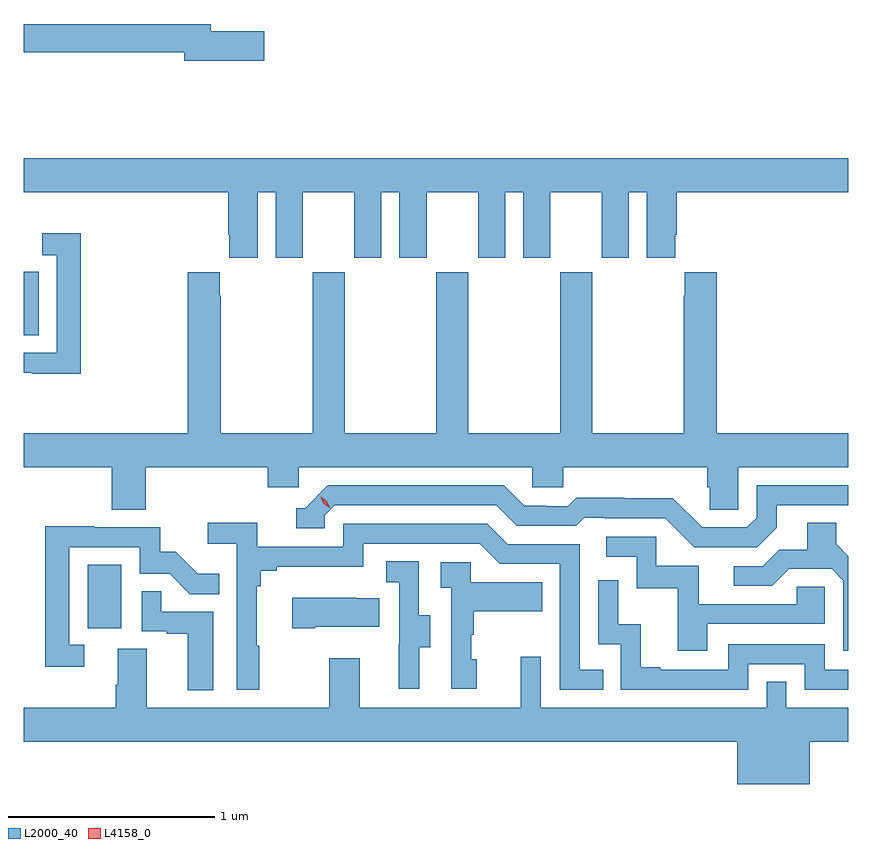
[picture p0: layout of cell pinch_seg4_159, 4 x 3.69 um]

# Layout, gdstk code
import gdstk
lib = gdstk.Library(unit=1e-6, precision=1e-09)
def R(c, l, rs):  # rectangles x0, y0, x1, y1
    for r in rs: c.add(gdstk.rectangle(r[:2], r[2:], *l))
def P(c, l, *ps):  # polygons
    for p in ps: c.add(gdstk.Polygon(p, *l))
L2000_40 = (2000, 40)
L4158_0 = (4158, 0)

pinch_seg4_159 = lib.new_cell('pinch_seg4_159')
R(pinch_seg4_159, L2000_40, [(1114.814,796.038,1114.978,796.345), (1114.503,797.46,1114.576,797.767)])
P(pinch_seg4_159, L2000_40, [(1115.671,798.932),(1115.41,798.932),(1115.41,798.968),(1114.503,798.968),(1114.503,798.832),(1115.282,798.832),(1115.282,798.79),(1115.671,798.79)],
  [(1115.638,798.152),(1115.726,798.152),(1115.726,797.835),(1115.857,797.835),(1115.857,798.152),(1116.107,798.152),(1116.107,797.835),(1116.238,797.835),(1116.238,798.152),(1116.326,798.152),(1116.326,797.835),(1116.457,797.835),(1116.457,798.152),(1116.707,798.152),(1116.707,797.835),(1116.838,797.835),(1116.838,798.152),(1116.926,798.152),(1116.926,797.835),(1117.057,797.835),(1117.057,798.152),(1117.307,798.152),(1117.307,797.835),(1117.438,797.835),(1117.438,798.152),(1117.526,798.152),(1117.526,797.835),(1117.663,797.835),(1117.663,797.947),(1117.67,797.947),(1117.67,798.152),(1118.503,798.152),(1118.503,798.316),(1114.503,798.316),(1114.503,798.152),(1115.495,798.152),(1115.495,797.947),(1115.501,797.947),(1115.501,797.835),(1115.638,797.835)],
  [(1114.781,797.953),(1114.593,797.953),(1114.593,797.847),(1114.665,797.847),(1114.665,797.373),(1114.503,797.373),(1114.503,797.277),(1114.543,797.277),(1114.543,797.272),(1114.781,797.272)],
  [(1117.709,797.764),(1117.709,797.651),(1117.705,797.651),(1117.705,796.984),(1117.26,796.984),(1117.26,797.764),(1117.105,797.764),(1117.105,796.984),(1116.66,796.984),(1116.66,797.764),(1116.505,797.764),(1116.505,796.984),(1116.06,796.984),(1116.06,797.764),(1115.905,797.764),(1115.905,796.984),(1115.46,796.984),(1115.46,797.651),(1115.455,797.651),(1115.455,797.764),(1115.3,797.764),(1115.3,796.984),(1114.503,796.984),(1114.503,796.82),(1114.931,796.82),(1114.931,796.612),(1115.096,796.612),(1115.096,796.82),(1115.687,796.82),(1115.687,796.722),(1115.838,796.722),(1115.838,796.82),(1116.969,796.82),(1116.969,796.722),(1117.119,796.722),(1117.119,796.82),(1117.817,796.82),(1117.817,796.722),(1117.831,796.722),(1117.831,796.612),(1117.968,796.612),(1117.968,796.82),(1118.503,796.82),(1118.503,796.984),(1117.865,796.984),(1117.865,797.764)],
  [(1118.155,796.525),(1118.155,796.635),(1118.503,796.635),(1118.503,796.731),(1118.058,796.731),(1118.058,796.575),(1118.01,796.527),(1117.794,796.527),(1117.652,796.669),(1117.416,796.669),(1117.416,796.672),(1117.183,796.672),(1117.141,796.629),(1117.038,796.629),(1117.038,796.632),(1116.931,796.632),(1116.832,796.731),(1115.979,796.731),(1115.868,796.62),(1115.825,796.62),(1115.825,796.524),(1115.964,796.524),(1115.964,796.587),(1116.012,796.635),(1116.795,796.635),(1116.894,796.536),(1117.183,796.536),(1117.222,796.575),(1117.321,796.575),(1117.321,796.572),(1117.614,796.572),(1117.755,796.431),(1118.061,796.431)],
  [(1118.503,796.388),(1118.443,796.448),(1118.443,796.55),(1118.303,796.55),(1118.303,796.418),(1118.168,796.418),(1118.088,796.338),(1117.947,796.338),(1117.947,796.245),(1118.134,796.245),(1118.215,796.326),(1118.421,796.326),(1118.478,796.269),(1118.478,795.93),(1118.503,795.93)],
  [(1115.647,795.953),(1115.635,795.953),(1115.635,796.241),(1115.654,796.241),(1115.654,796.318),(1115.731,796.318),(1115.731,796.337),(1116.15,796.337),(1116.15,796.449),(1116.714,796.449),(1116.813,796.35),(1117.104,796.35),(1117.104,795.741),(1117.313,795.741),(1117.313,795.837),(1117.2,795.837),(1117.2,796.446),(1116.85,796.446),(1116.751,796.545),(1116.054,796.545),(1116.054,796.434),(1115.636,796.434),(1115.636,796.55),(1115.397,796.55),(1115.397,796.448),(1115.538,796.448),(1115.538,795.741),(1115.647,795.741)],
  [(1114.798,795.957),(1114.725,795.957),(1114.725,796.431),(1115.067,796.431),(1115.067,796.302),(1115.212,796.302),(1115.31,796.204),(1115.453,796.204),(1115.453,796.303),(1115.349,796.303),(1115.242,796.41),(1115.166,796.41),(1115.166,796.527),(1114.847,796.527),(1114.847,796.532),(1114.609,796.532),(1114.609,795.852),(1114.798,795.852)],
  [(1117.819,796.059),(1118.388,796.059),(1118.388,796.239),(1118.251,796.239),(1118.251,796.155),(1117.777,796.155),(1117.777,796.341),(1117.572,796.341),(1117.572,796.482),(1117.329,796.482),(1117.329,796.386),(1117.476,796.386),(1117.476,796.233),(1117.675,796.233),(1117.675,795.93),(1117.819,795.93)],
  [(1116.421,795.946),(1116.475,795.946),(1116.475,796.101),(1116.42,796.101),(1116.42,796.364),(1116.261,796.364),(1116.261,796.261),(1116.324,796.261),(1116.324,795.957),(1116.323,795.957),(1116.323,795.744),(1116.421,795.744)],
  [(1116.7,795.888),(1116.675,795.888),(1116.675,796.007),(1116.685,796.007),(1116.685,796.121),(1117.019,796.121),(1117.019,796.261),(1116.672,796.261),(1116.672,796.359),(1116.525,796.359),(1116.525,796.235),(1116.576,796.235),(1116.576,795.744),(1116.7,795.744)],
  [(1118.016,795.864),(1118.292,795.864),(1118.292,795.741),(1118.503,795.741),(1118.503,795.837),(1118.388,795.837),(1118.388,795.96),(1117.92,795.96),(1117.92,795.837),(1117.591,795.837),(1117.591,795.85),(1117.496,795.85),(1117.496,796.058),(1117.386,796.058),(1117.386,796.27),(1117.29,796.27),(1117.29,795.96),(1117.398,795.96),(1117.398,795.741),(1118.016,795.741)],
  [(1115.422,796.119),(1115.171,796.119),(1115.171,796.217),(1115.076,796.217),(1115.076,796.023),(1115.197,796.023),(1115.197,796.011),(1115.3,796.011),(1115.3,795.737),(1115.422,795.737)],
  [(1115.917,796.046),(1116.227,796.046),(1116.227,796.183),(1116.119,796.183),(1116.119,796.186),(1115.805,796.186),(1115.805,796.039),(1115.917,796.039)],
  [(1117.964,795.283),(1118.314,795.283),(1118.314,795.488),(1118.503,795.488),(1118.503,795.652),(1118.202,795.652),(1118.202,795.779),(1118.106,795.779),(1118.106,795.652),(1117.011,795.652),(1117.011,795.901),(1116.914,795.901),(1116.914,795.652),(1116.133,795.652),(1116.133,795.892),(1115.986,795.892),(1115.986,795.652),(1115.101,795.652),(1115.101,795.938),(1114.961,795.938),(1114.961,795.764),(1114.949,795.764),(1114.949,795.652),(1114.503,795.652),(1114.503,795.488),(1117.964,795.488)])
P(pinch_seg4_159, L4158_0, [(1115.989,796.622),(1115.959,796.642),(1115.944,796.675),(1115.944,796.675),(1115.944,796.675),(1115.974,796.655),(1115.989,796.623),(1115.989,796.622)])

lib.write_gds('pinch_seg4_159.gds')
